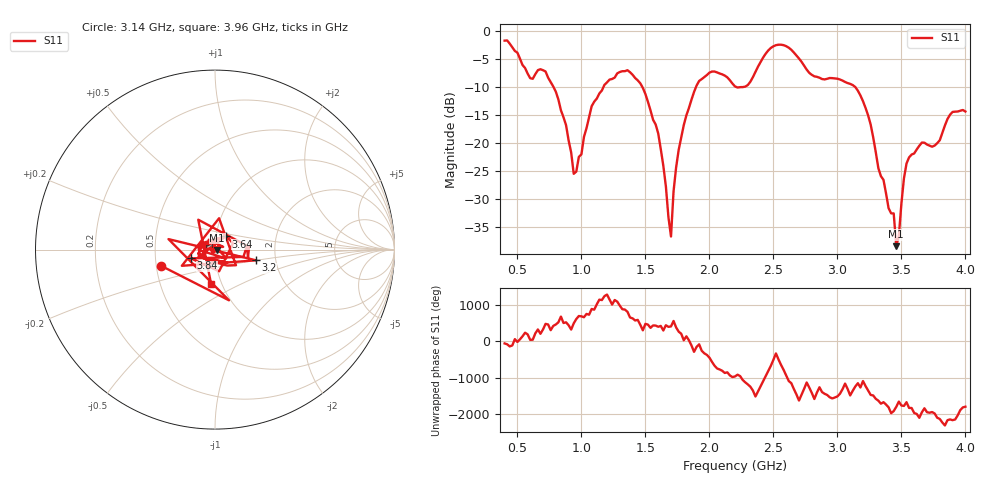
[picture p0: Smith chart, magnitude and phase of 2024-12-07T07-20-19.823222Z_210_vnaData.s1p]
!Created with skrf (http://scikit-rf.org).
# Hz S RI R 50.0
!freq ReS11 ImS11
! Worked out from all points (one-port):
!   181 points, 400 MHz to 4 GHz, reference 50 ohm
!   lowest |S11| = -38.5 dB at 3.46 GHz (marker M1), VSWR 1.02, Z = 51.2 - j0.134 ohm
!   |S11| at or under -10 dB: 782.1 MHz to 1.172 GHz (390.2 MHz wide, 39.9 % of centre); 1.476 GHz to 1.895 GHz (419 MHz wide, 24.9 % of centre); 3.14 GHz to end of sweep (the widest 3 of 4)
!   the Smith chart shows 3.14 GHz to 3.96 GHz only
!   S11 on the Smith chart (normalised r, x): 3.14 GHz: 0.53, -0.10; 3.2 GHz: 1.58, -0.20; 3.64 GHz: 1.11, +0.16; 3.84 GHz: 0.76, -0.08; 3.96 GHz: 0.89, -0.36
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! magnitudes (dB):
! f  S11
! 400 MHz  -1.7
! 600 MHz  -8.4
! 720 MHz  -7.2
! 860 MHz  -15.4
! 940 MHz  -25.5
! 1.08 GHz  -13.4
! 1.3 GHz  -7.3
! 1.46 GHz  -9.3
! 1.58 GHz  -16.7
! 1.64 GHz  -24.1
! 1.7 GHz  -36.8
! 1.72 GHz  -28.7
! 1.76 GHz  -21.2
! 1.92 GHz  -8.9
! 2.2 GHz  -9.9
! 2.5 GHz  -2.7
! 2.66 GHz  -3.8
! 3.1 GHz  -9.4
! 3.14 GHz  -10.0
! 3.2 GHz  -12.5
! 3.44 GHz  -32.6
! 3.46 GHz  -38.5
! 3.52 GHz  -26.3
! 3.56 GHz  -22.6
! 3.64 GHz  -20.5
! 3.84 GHz  -16.9
! 3.96 GHz  -14.2
! 4 GHz  -14.4
